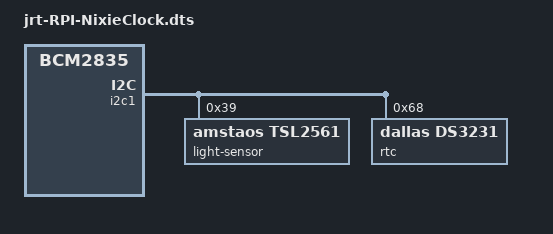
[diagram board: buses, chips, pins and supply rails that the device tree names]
/*
 * Copyright (c) 2018, 2019 Jason R. Thorpe
 * All rights reserved.
 */

#include <dt-bindings/pinctrl/bcm2835.h>
#include <dt-bindings/gpio/gpio.h>
#include <dt-bindings/input/linux-event-codes.h>

/*
 * Device tree overlay for my Nixie clock.
 */
/dts-v1/;
/plugin/;
/ {
	compatible = "raspberrypi,model-b-plus", "brcm,bcm2835";

	/*
	 * i2c devices:
	 *
	 *	- DS3231 real-time clock
	 *	- TSL2561 ambient light sensor
	 *	- PCA9685 PWM LED controller
	 */
	fragment@0 {
		target = <&i2c1>;

		__overlay__ {
			light-sensor@39 {
				compatible = "amstaos,tsl2561";
				reg = <0x39>;
			};

			 pwm@41 {
			 	compatible = "nxp,pca9685";
			 	reg = <0x41>;
			 };

			 rtc@68 {
			 	compatible = "dallas,ds3231";
			 	reg = <0x68>;
			 };
		};
	};

#if 0 /* XXXJRT disabled for now. */
	/*
	 * Clock controls:
	 *
	 *	Rotary encoder:
	 *		- "Up"			0
	 *		- "Down"		2
	 *		- "Enter"		3
	 *	- Snooze button			4
	 *	- Alarm-set button		5
	 *	- Alarm-off-for-today button	6
	 *	- Alarm on/off switch		27
	 *	- Setup mode switch		25
	 */
	fragment@1 {
		target = <&gpio>;
		__overlay__ {
			nixie_clock_control_pins: nixie-clock-control-pins {
				brcm,pins = <0 2 3 4 5 6 25 27>;
				brcm,function = <BCM2835_FSEL_GPIO_IN>;
				brcm,pull = <BCM2835_PUD_UP>;
			};
		};
	};
	fragment@2 {
		target-path = "/";
		__overlay__ {
			nixie-clock-controls {
				/* compatible = "gpio-keys"; */
				compatible = "gpio-keys-polled";

				poll-interval = <150>;

				pinctrl-names = "default";
				pinctrl-0 = <&nixie_clock_control_pins>;

				up-button {
					label = "up";
					linux,code = <KEY_UP>;
					gpios = <&gpio 0 GPIO_ACTIVE_LOW>;
				};

				down-button {
					label = "down";
					linux,code = <KEY_DOWN>;
					gpios = <&gpio 2 GPIO_ACTIVE_LOW>;
				};

				enter-button {
					label = "enter";
					linux,code = <KEY_ENTER>;
					gpios = <&gpio 3 GPIO_ACTIVE_LOW>;
				};

				snooze-button {
					label = "snooze";
					linux,code = <KEY_S>;
					gpios = <&gpio 4 GPIO_ACTIVE_LOW>;
				};

				alarm-set-button {
					label = "alarm-set";
					linux,code = <KEY_TIME>;
					gpios = <&gpio 5 GPIO_ACTIVE_LOW>;
				};

				awake-button {
					label = "awake";
					linux,code = <KEY_MUTE>;
					gpios = <&gpio 6 GPIO_ACTIVE_LOW>;
				};

				alarm-enable-switch {
					label = "alarm-on-off";
					linux,code = <KEY_A>;
					gpios = <&gpio 27 GPIO_ACTIVE_LOW>;
				};

				setup-mode-switch {
					label = "setup-mode";
					linux,code = <KEY_SETUP>;
					gpios = <&gpio 25 GPIO_ACTIVE_LOW>;
				};
			};
		};
	};
#endif
};
